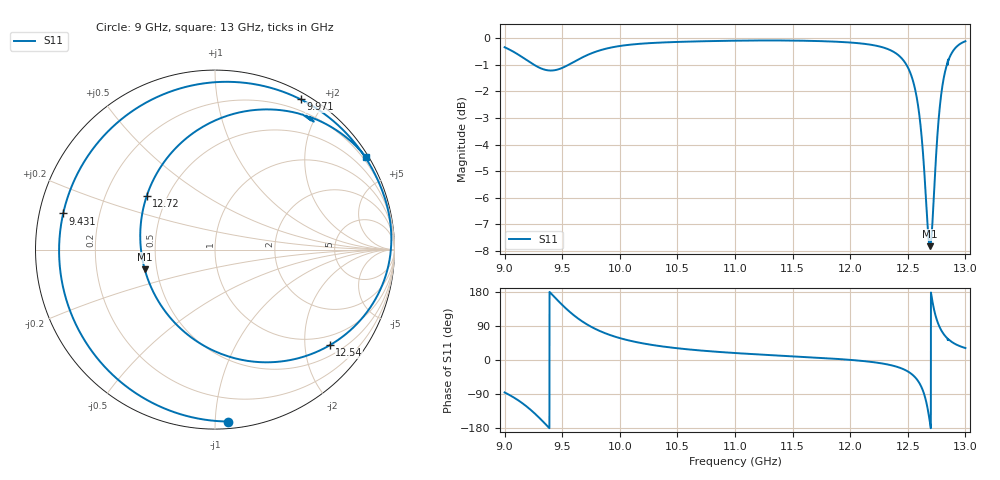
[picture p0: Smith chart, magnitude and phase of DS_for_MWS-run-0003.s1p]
! TOUCHSTONE file generated by CST DESIGN STUDIO
! Date and time: Tue Feb  4 15:44:54 2025
! Project name: C:\Work\MatlabApps\UnitCellOptimizationMatlab\CST\unitcell.cst
! Tree item: Tasks\Sweep1\SPara1\S-Parameters
! Header version: 2024
! Port assignment regex: !\s*Touchstone port\s*([0-9]+)\s*=\s*(CST MWS port|CST DES external port|CST DES block port)\s*(.+)\s* \(\"(.*)\"\)(\s*mode\s*([0-9]+))?.*
! Touchstone port assignment:
! Touchstone port 1 = CST DES external port 1 ("")
# GHz S MA R 50
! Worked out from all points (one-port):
!   4001 points, 9 GHz to 13 GHz, reference 50 ohm
!   lowest |S11| = -7.8 dB at 12.69 GHz (marker M1), VSWR 2.37, Z = 21.4 - j5.64 ohm
!   |S11| at or under -10 dB: nowhere
!   S11 on the Smith chart (normalised r, x): 9 GHz: 0.04, -1.08; 9.431 GHz: 0.07, +0.12; 9.971 GHz: 0.07, +1.72; 12.54 GHz: 0.74, -2.57; 12.72 GHz: 0.38, +0.30; 13 GHz: 0.10, +3.54
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9  0.9605 -85.6
9.114  0.9318 -105.5
9.212  0.9027 -127.8
9.331  0.8741 -161.7
9.431  0.8695 166.6
9.5  0.8785 145.4
9.591  0.8991 120.5
9.688  0.9223 99.0
9.826  0.9476 76.6
9.971  0.9635 60.4
10  0.9658 57.8
10.214  0.9764 43.1
10.5  0.9829 31.0
11  0.9881 18.4
11.5  0.9886 9.7
12  0.9804 0.3
12.338  0.9508 -12.6
12.5  0.881 -30.1
12.544  0.8323 -39.8
12.589  0.7467 -55.4
12.632  0.6075 -81.3
12.662  0.4812 -113.1
12.692  0.4067 -164.3
12.722  0.4846 141.6
12.759  0.6658 99.7
12.799  0.8091 74.1
12.882  0.9372 47.6
13  0.9859 31.6
